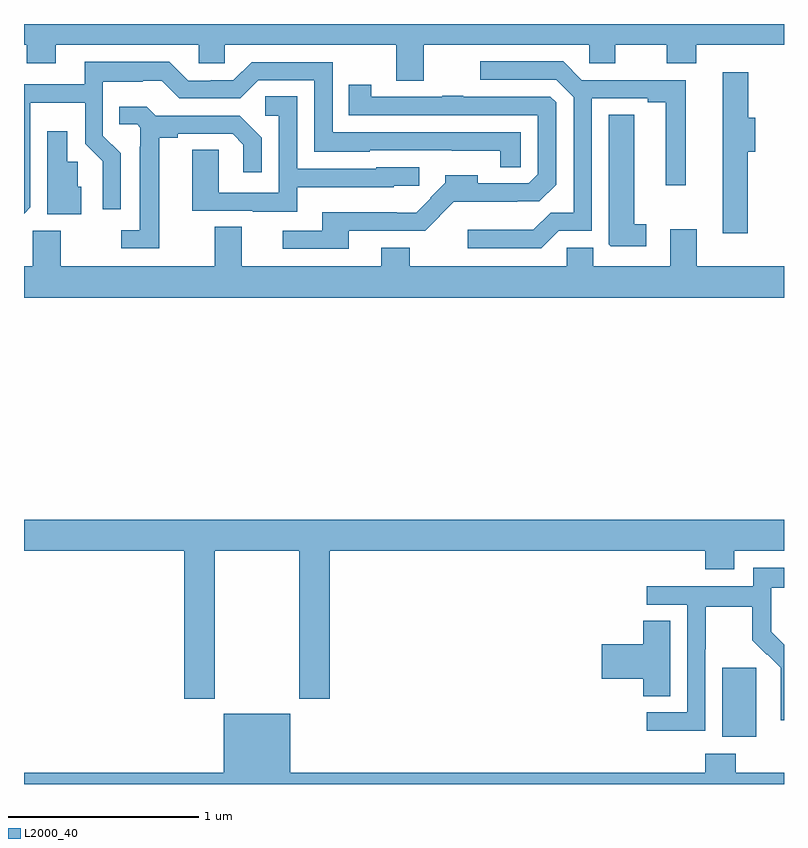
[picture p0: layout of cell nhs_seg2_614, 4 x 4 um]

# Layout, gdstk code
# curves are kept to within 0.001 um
import gdstk
lib = gdstk.Library(unit=1e-6, precision=1e-09)
def R(c, l, rs):  # rectangles x0, y0, x1, y1
    for r in rs: c.add(gdstk.rectangle(r[:2], r[2:], *l))
def P(c, l, *ps):  # polygons
    for p in ps: c.add(gdstk.Polygon(p, *l))
L2000_40 = (2000, 40)

nhs_seg2_614 = lib.new_cell('nhs_seg2_614')
R(nhs_seg2_614, L2000_40, [(146.675,588.05,146.854,588.411)])
P(nhs_seg2_614, L2000_40, [(143,591.692),(143.015,591.692),(143.015,591.593),(143.167,591.593),(143.167,591.692),(143.919,591.692),(143.919,591.594),(144.057,591.594),(144.057,591.692),(144.958,591.692),(144.958,591.502),(145.105,591.502),(145.105,591.692),(145.974,591.692),(145.974,591.594),(146.113,591.594),(146.113,591.692),(146.384,591.692),(146.384,591.593),(146.537,591.593),(146.537,591.692),(147,591.692),(147,591.8),(143,591.8)],
  [(145.815,590.712),(145.989,590.712),(145.989,591.408),(146.282,591.408),(146.282,591.388),(146.378,591.388),(146.378,590.952),(146.482,590.952),(146.482,591.504),(145.936,591.504),(145.837,591.603),(145.401,591.603),(145.401,591.507),(145.8,591.507),(145.893,591.414),(145.893,590.807),(145.772,590.807),(145.681,590.716),(145.335,590.716),(145.335,590.619),(145.722,590.619)],
  [(143.034,590.835),(143.034,591.386),(143.322,591.386),(143.322,591.17),(143.414,591.078),(143.414,590.826),(143.508,590.826),(143.508,591.12),(143.415,591.213),(143.415,591.497),(143.624,591.497),(143.624,591.501),(143.724,591.501),(143.817,591.408),(144.138,591.408),(144.234,591.504),(144.528,591.504),(144.528,591.128),(144.819,591.128),(144.819,591.135),(145.506,591.134),(145.506,591.046),(145.614,591.046),(145.614,591.231),(144.624,591.231),(144.624,591.6),(144.198,591.6),(144.102,591.504),(143.982,591.504),(143.982,591.501),(143.865,591.501),(143.765,591.601),(143.321,591.601),(143.321,591.483),(143,591.483),(143,590.801)],
  [(146.81,591.128),(146.849,591.128),(146.849,591.306),(146.813,591.306),(146.813,591.547),(146.678,591.547),(146.678,590.7),(146.81,590.7)],
  [(144.709,590.712),(145.113,590.712),(145.189,590.789),(145.187,590.791),(145.261,590.865),(145.595,590.864),(145.595,590.866),(145.711,590.866),(145.8,590.955),(145.8,591.387),(145.77,591.417),(145.313,591.417),(145.313,591.422),(145.201,591.422),(145.201,591.417),(144.828,591.417),(144.828,591.481),(144.709,591.481),(144.709,591.321),(145.704,591.321),(145.704,591.009),(145.656,590.961),(145.387,590.961),(145.387,591.004),(145.216,591.004),(145.216,590.965),(145.137,590.886),(145.14,590.883),(145.064,590.807),(144.962,590.807),(144.962,590.809),(144.569,590.809),(144.569,590.712),(144.363,590.712),(144.363,590.616),(144.709,590.616)],
  [(144.439,590.942),(144.945,590.942),(144.945,590.949),(145.08,590.949),(145.08,591.045),(144.855,591.045),(144.855,591.039),(144.438,591.039),(144.438,591.419),(144.27,591.419),(144.27,591.318),(144.342,591.318),(144.342,590.913),(144.024,590.913),(144.024,591.137),(143.885,591.137),(143.885,590.817),(144.203,590.817),(144.203,590.813),(144.439,590.813)],
  [(143.713,591.202),(143.809,591.202),(143.809,591.222),(144.098,591.222),(144.155,591.165),(144.155,591.021),(144.252,591.021),(144.252,591.202),(144.136,591.318),(143.694,591.318),(143.646,591.365),(143.5,591.365),(143.5,591.273),(143.595,591.273),(143.613,591.255),(143.613,591.155),(143.609,591.155),(143.609,590.715),(143.511,590.715),(143.511,590.619),(143.713,590.619)],
  [(146.275,590.747),(146.212,590.747),(146.212,591.323),(146.078,591.323),(146.078,590.641),(146.088,590.631),(146.275,590.631)],
  [(143.302,590.943),(143.283,590.943),(143.283,591.075),(143.227,591.075),(143.227,591.235),(143.123,591.235),(143.123,590.798),(143.302,590.798)],
  [(147,590.524),(146.542,590.524),(146.542,590.719),(146.402,590.719),(146.402,590.524),(145.996,590.524),(145.996,590.622),(145.857,590.622),(145.857,590.524),(145.029,590.524),(145.029,590.623),(144.881,590.623),(144.881,590.524),(144.145,590.524),(144.145,590.732),(144.005,590.732),(144.005,590.524),(143.193,590.524),(143.193,590.713),(143.046,590.713),(143.046,590.524),(143,590.524),(143,590.36),(147,590.36)],
  [(144.003,589.028),(144.448,589.028),(144.448,588.249),(144.608,588.249),(144.608,589.028),(146.585,589.028),(146.585,588.929),(146.737,588.929),(146.737,589.028),(147,589.028),(147,589.192),(143,589.192),(143,589.028),(143.843,589.028),(143.843,588.249),(144.003,588.249)],
  [(146.586,588.508),(146.589,588.508),(146.589,588.732),(146.833,588.732),(146.833,588.557),(146.91,588.48),(146.913,588.483),(146.984,588.413),(146.984,588.29),(146.982,588.29),(146.982,588.136),(147,588.136),(147,588.534),(146.932,588.602),(146.932,588.699),(146.934,588.699),(146.934,588.833),(147,588.833),(147,588.937),(146.838,588.937),(146.838,588.84),(146.277,588.84),(146.277,588.744),(146.49,588.744),(146.49,588.177),(146.277,588.177),(146.277,588.079),(146.586,588.079)],
  [(146.401,588.659),(146.258,588.659),(146.258,588.536),(146.04,588.536),(146.04,588.353),(146.258,588.353),(146.258,588.262),(146.401,588.262)],
  [(147,587.86),(146.745,587.86),(146.745,587.959),(146.585,587.959),(146.585,587.86),(144.4,587.86),(144.4,588.169),(144.05,588.169),(144.05,587.86),(143,587.86),(143,587.8),(147,587.8)])

lib.write_gds('nhs_seg2_614.gds')
